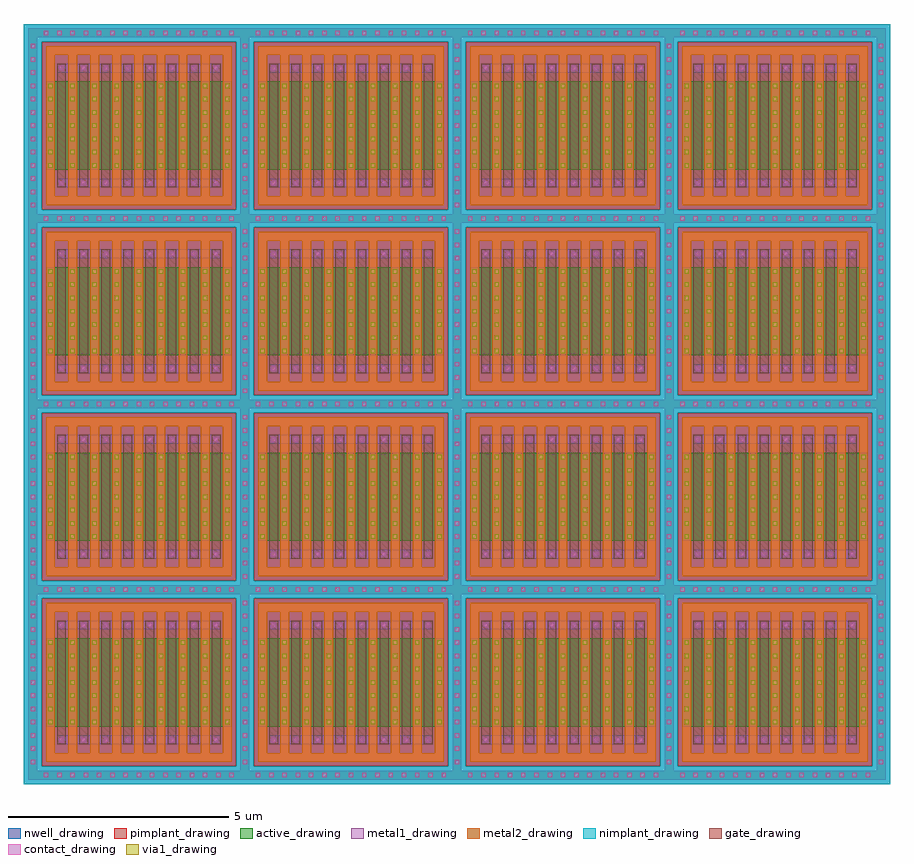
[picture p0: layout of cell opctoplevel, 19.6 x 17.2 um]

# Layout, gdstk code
import gdstk
lib = gdstk.Library(unit=1e-6, precision=1e-09)
def R(c, l, rs):  # rectangles x0, y0, x1, y1
    for r in rs: c.add(gdstk.rectangle(r[:2], r[2:], *l))
def A(c, l, x, y, w, h, nx, ny, dx, dy):  # array of equal rectangles
    R(c, l, [(x+i*dx, y+j*dy, x+i*dx+w, y+j*dy+h) for i in range(nx) for j in range(ny)])
active_drawing = (1, 0)
nwell_drawing = (3, 0)
pimplant_drawing = (4, 0)
nimplant_drawing = (5, 0)
gate_drawing = (6, 0)
contact_drawing = (7, 0)
metal1_drawing = (8, 0)
via1_drawing = (9, 0)
metal2_drawing = (10, 0)

opctoplevel = lib.new_cell('opctoplevel')
A(opctoplevel, active_drawing, -0.65, -1.2, 5, 0.2, 4, 2, 4.8, 16.8)
A(opctoplevel, active_drawing, -0.65, -1.2, 0.2, 4.4, 1, 4, 0, 4.2)
A(opctoplevel, active_drawing, 18.55, -1.2, 0.2, 4.4, 1, 4, 0, 4.2)
A(opctoplevel, active_drawing, -0.25, 0, 4.2, 2, 4, 4, 4.8, 4.2)
R(opctoplevel, active_drawing, [(4.15,-1.2,4.35,3.2), (4.15,-1.2,4.35,3.2), (8.95,-1.2,9.15,3.2), (8.95,-1.2,9.15,3.2), (13.75,-1.2,13.95,3.2), (13.75,-1.2,13.95,3.2), (-0.65,3,4.35,3.2), (-0.65,3,4.35,3.2), (4.15,3,9.15,3.2), (4.15,3,9.15,3.2), (4.15,3,4.35,7.4), (4.15,3,4.35,7.4), (8.95,3,13.95,3.2), (8.95,3,13.95,3.2), (8.95,3,9.15,7.4), (8.95,3,9.15,7.4), (13.75,3,18.75,3.2), (13.75,3,18.75,3.2), (13.75,3,13.95,7.4), (13.75,3,13.95,7.4), (-0.65,7.2,4.35,7.4), (-0.65,7.2,4.35,7.4), (4.15,7.2,9.15,7.4), (4.15,7.2,9.15,7.4), (4.15,7.2,4.35,11.6), (4.15,7.2,4.35,11.6), (8.95,7.2,13.95,7.4), (8.95,7.2,13.95,7.4), (8.95,7.2,9.15,11.6), (8.95,7.2,9.15,11.6), (13.75,7.2,18.75,7.4), (13.75,7.2,18.75,7.4), (13.75,7.2,13.95,11.6), (13.75,7.2,13.95,11.6), (-0.65,11.4,4.35,11.6), (-0.65,11.4,4.35,11.6), (4.15,11.4,9.15,11.6), (4.15,11.4,9.15,11.6), (4.15,11.4,4.35,15.8), (4.15,11.4,4.35,15.8), (8.95,11.4,13.95,11.6), (8.95,11.4,13.95,11.6), (8.95,11.4,9.15,15.8), (8.95,11.4,9.15,15.8), (13.75,11.4,18.75,11.6), (13.75,11.4,18.75,11.6), (13.75,11.4,13.95,15.8), (13.75,11.4,13.95,15.8)])
A(opctoplevel, nwell_drawing, -0.75, -1.3, 5.2, 4.6, 4, 4, 4.8, 4.2)
A(opctoplevel, pimplant_drawing, -0.35, -0.9, 4.4, 3.8, 4, 4, 4.8, 4.2)
A(opctoplevel, nimplant_drawing, -0.75, -1.3, 5.2, 0.4, 4, 2, 4.8, 16.8)
A(opctoplevel, nimplant_drawing, -0.75, -1.3, 0.4, 4.6, 1, 4, 0, 4.2)
A(opctoplevel, nimplant_drawing, 18.45, -1.3, 0.4, 4.6, 1, 4, 0, 4.2)
R(opctoplevel, nimplant_drawing, [(4.05,-1.3,4.45,3.3), (4.05,-1.3,4.45,3.3), (8.85,-1.3,9.25,3.3), (8.85,-1.3,9.25,3.3), (13.65,-1.3,14.05,3.3), (13.65,-1.3,14.05,3.3), (-0.75,2.9,4.45,3.3), (-0.75,2.9,4.45,3.3), (4.05,2.9,9.25,3.3), (4.05,2.9,9.25,3.3), (4.05,2.9,4.45,7.5), (4.05,2.9,4.45,7.5), (8.85,2.9,14.05,3.3), (8.85,2.9,14.05,3.3), (8.85,2.9,9.25,7.5), (8.85,2.9,9.25,7.5), (13.65,2.9,18.85,3.3), (13.65,2.9,18.85,3.3), (13.65,2.9,14.05,7.5), (13.65,2.9,14.05,7.5), (-0.75,7.1,4.45,7.5), (-0.75,7.1,4.45,7.5), (4.05,7.1,9.25,7.5), (4.05,7.1,9.25,7.5), (4.05,7.1,4.45,11.7), (4.05,7.1,4.45,11.7), (8.85,7.1,14.05,7.5), (8.85,7.1,14.05,7.5), (8.85,7.1,9.25,11.7), (8.85,7.1,9.25,11.7), (13.65,7.1,18.85,7.5), (13.65,7.1,18.85,7.5), (13.65,7.1,14.05,11.7), (13.65,7.1,14.05,11.7), (-0.75,11.3,4.45,11.7), (-0.75,11.3,4.45,11.7), (4.05,11.3,9.25,11.7), (4.05,11.3,9.25,11.7), (4.05,11.3,4.45,15.9), (4.05,11.3,4.45,15.9), (8.85,11.3,14.05,11.7), (8.85,11.3,14.05,11.7), (8.85,11.3,9.25,15.9), (8.85,11.3,9.25,15.9), (13.65,11.3,18.85,11.7), (13.65,11.3,18.85,11.7), (13.65,11.3,14.05,15.9), (13.65,11.3,14.05,15.9)])
A(opctoplevel, gate_drawing, 0, -0.4, 0.2, 2.8, 8, 4, 0.5, 4.2)
A(opctoplevel, gate_drawing, 4.8, -0.4, 0.2, 2.8, 8, 4, 0.5, 4.2)
A(opctoplevel, gate_drawing, 9.6, -0.4, 0.2, 2.8, 8, 4, 0.5, 4.2)
A(opctoplevel, gate_drawing, 14.4, -0.4, 0.2, 2.8, 8, 4, 0.5, 4.2)
A(opctoplevel, contact_drawing, -0.3, -1.15, 0.1, 0.1, 15, 2, 0.3, 16.8)
A(opctoplevel, contact_drawing, 4.5, -1.15, 0.1, 0.1, 15, 2, 0.3, 16.8)
A(opctoplevel, contact_drawing, 9.3, -1.15, 0.1, 0.1, 15, 2, 0.3, 16.8)
A(opctoplevel, contact_drawing, 14.1, -1.15, 0.1, 0.1, 15, 2, 0.3, 16.8)
A(opctoplevel, contact_drawing, -0.6, -0.85, 0.1, 0.1, 1, 13, 0, 0.3)
A(opctoplevel, contact_drawing, 18.6, -0.85, 0.1, 0.1, 1, 13, 0, 0.3)
A(opctoplevel, contact_drawing, 0.05, -0.35, 0.1, 0.1, 8, 2, 0.5, 2.6)
A(opctoplevel, contact_drawing, 4.85, -0.35, 0.1, 0.1, 8, 2, 0.5, 2.6)
A(opctoplevel, contact_drawing, 9.65, -0.35, 0.1, 0.1, 8, 2, 0.5, 2.6)
A(opctoplevel, contact_drawing, 14.45, -0.35, 0.1, 0.1, 8, 2, 0.5, 2.6)
A(opctoplevel, contact_drawing, -0.2, 0.05, 0.1, 0.1, 9, 7, 0.5, 0.3)
A(opctoplevel, contact_drawing, 4.6, 0.05, 0.1, 0.1, 9, 7, 0.5, 0.3)
A(opctoplevel, contact_drawing, 9.4, 0.05, 0.1, 0.1, 9, 7, 0.5, 0.3)
A(opctoplevel, contact_drawing, 14.2, 0.05, 0.1, 0.1, 9, 7, 0.5, 0.3)
A(opctoplevel, contact_drawing, -0.6, 3.35, 0.1, 0.1, 1, 13, 0, 0.3)
A(opctoplevel, contact_drawing, 18.6, 3.35, 0.1, 0.1, 1, 13, 0, 0.3)
A(opctoplevel, contact_drawing, 0.05, 3.85, 0.1, 0.1, 8, 2, 0.5, 2.6)
A(opctoplevel, contact_drawing, 4.85, 3.85, 0.1, 0.1, 8, 2, 0.5, 2.6)
A(opctoplevel, contact_drawing, 9.65, 3.85, 0.1, 0.1, 8, 2, 0.5, 2.6)
A(opctoplevel, contact_drawing, 14.45, 3.85, 0.1, 0.1, 8, 2, 0.5, 2.6)
A(opctoplevel, contact_drawing, -0.2, 4.25, 0.1, 0.1, 9, 7, 0.5, 0.3)
A(opctoplevel, contact_drawing, 4.6, 4.25, 0.1, 0.1, 9, 7, 0.5, 0.3)
A(opctoplevel, contact_drawing, 9.4, 4.25, 0.1, 0.1, 9, 7, 0.5, 0.3)
A(opctoplevel, contact_drawing, 14.2, 4.25, 0.1, 0.1, 9, 7, 0.5, 0.3)
A(opctoplevel, contact_drawing, -0.6, 7.55, 0.1, 0.1, 1, 13, 0, 0.3)
A(opctoplevel, contact_drawing, 18.6, 7.55, 0.1, 0.1, 1, 13, 0, 0.3)
A(opctoplevel, contact_drawing, 0.05, 8.05, 0.1, 0.1, 8, 2, 0.5, 2.6)
A(opctoplevel, contact_drawing, 4.85, 8.05, 0.1, 0.1, 8, 2, 0.5, 2.6)
A(opctoplevel, contact_drawing, 9.65, 8.05, 0.1, 0.1, 8, 2, 0.5, 2.6)
A(opctoplevel, contact_drawing, 14.45, 8.05, 0.1, 0.1, 8, 2, 0.5, 2.6)
A(opctoplevel, contact_drawing, -0.2, 8.45, 0.1, 0.1, 9, 7, 0.5, 0.3)
A(opctoplevel, contact_drawing, 4.6, 8.45, 0.1, 0.1, 9, 7, 0.5, 0.3)
A(opctoplevel, contact_drawing, 9.4, 8.45, 0.1, 0.1, 9, 7, 0.5, 0.3)
A(opctoplevel, contact_drawing, 14.2, 8.45, 0.1, 0.1, 9, 7, 0.5, 0.3)
A(opctoplevel, contact_drawing, -0.6, 11.75, 0.1, 0.1, 1, 13, 0, 0.3)
A(opctoplevel, contact_drawing, 18.6, 11.75, 0.1, 0.1, 1, 13, 0, 0.3)
A(opctoplevel, contact_drawing, 0.05, 12.25, 0.1, 0.1, 8, 2, 0.5, 2.6)
A(opctoplevel, contact_drawing, 4.85, 12.25, 0.1, 0.1, 8, 2, 0.5, 2.6)
A(opctoplevel, contact_drawing, 9.65, 12.25, 0.1, 0.1, 8, 2, 0.5, 2.6)
A(opctoplevel, contact_drawing, 14.45, 12.25, 0.1, 0.1, 8, 2, 0.5, 2.6)
A(opctoplevel, contact_drawing, -0.2, 12.65, 0.1, 0.1, 9, 7, 0.5, 0.3)
A(opctoplevel, contact_drawing, 4.6, 12.65, 0.1, 0.1, 9, 7, 0.5, 0.3)
A(opctoplevel, contact_drawing, 9.4, 12.65, 0.1, 0.1, 9, 7, 0.5, 0.3)
A(opctoplevel, contact_drawing, 14.2, 12.65, 0.1, 0.1, 9, 7, 0.5, 0.3)
R(opctoplevel, contact_drawing, [(4.2,-0.85,4.3,-0.75), (4.2,-0.85,4.3,-0.75), (9,-0.85,9.1,-0.75), (9,-0.85,9.1,-0.75), (13.8,-0.85,13.9,-0.75), (13.8,-0.85,13.9,-0.75), (4.2,-0.55,4.3,-0.45), (4.2,-0.55,4.3,-0.45), (9,-0.55,9.1,-0.45), (9,-0.55,9.1,-0.45), (13.8,-0.55,13.9,-0.45), (13.8,-0.55,13.9,-0.45), (4.2,-0.25,4.3,-0.15), (4.2,-0.25,4.3,-0.15), (9,-0.25,9.1,-0.15), (9,-0.25,9.1,-0.15), (13.8,-0.25,13.9,-0.15), (13.8,-0.25,13.9,-0.15), (4.2,0.05,4.3,0.15), (4.2,0.05,4.3,0.15), (9,0.05,9.1,0.15), (9,0.05,9.1,0.15), (13.8,0.05,13.9,0.15), (13.8,0.05,13.9,0.15), (4.2,0.35,4.3,0.45), (4.2,0.35,4.3,0.45), (9,0.35,9.1,0.45), (9,0.35,9.1,0.45), (13.8,0.35,13.9,0.45), (13.8,0.35,13.9,0.45), (4.2,0.65,4.3,0.75), (4.2,0.65,4.3,0.75), (9,0.65,9.1,0.75), (9,0.65,9.1,0.75), (13.8,0.65,13.9,0.75), (13.8,0.65,13.9,0.75), (4.2,0.95,4.3,1.05), (4.2,0.95,4.3,1.05), (9,0.95,9.1,1.05), (9,0.95,9.1,1.05), (13.8,0.95,13.9,1.05), (13.8,0.95,13.9,1.05), (4.2,1.25,4.3,1.35), (4.2,1.25,4.3,1.35), (9,1.25,9.1,1.35), (9,1.25,9.1,1.35), (13.8,1.25,13.9,1.35), (13.8,1.25,13.9,1.35), (4.2,1.55,4.3,1.65), (4.2,1.55,4.3,1.65), (9,1.55,9.1,1.65), (9,1.55,9.1,1.65), (13.8,1.55,13.9,1.65), (13.8,1.55,13.9,1.65), (4.2,1.85,4.3,1.95), (4.2,1.85,4.3,1.95), (9,1.85,9.1,1.95), (9,1.85,9.1,1.95), (13.8,1.85,13.9,1.95), (13.8,1.85,13.9,1.95), (4.2,2.15,4.3,2.25), (4.2,2.15,4.3,2.25), (9,2.15,9.1,2.25), (9,2.15,9.1,2.25), (13.8,2.15,13.9,2.25), (13.8,2.15,13.9,2.25), (4.2,2.45,4.3,2.55), (4.2,2.45,4.3,2.55), (9,2.45,9.1,2.55), (9,2.45,9.1,2.55), (13.8,2.45,13.9,2.55), (13.8,2.45,13.9,2.55), (4.2,2.75,4.3,2.85), (4.2,2.75,4.3,2.85), (9,2.75,9.1,2.85), (9,2.75,9.1,2.85), (13.8,2.75,13.9,2.85), (13.8,2.75,13.9,2.85), (-0.3,3.05,-0.2,3.15), (-0.3,3.05,-0.2,3.15), (0,3.05,0.1,3.15), (0,3.05,0.1,3.15), (0.3,3.05,0.4,3.15), (0.3,3.05,0.4,3.15), (0.6,3.05,0.7,3.15), (0.6,3.05,0.7,3.15), (0.9,3.05,1,3.15), (0.9,3.05,1,3.15), (1.2,3.05,1.3,3.15), (1.2,3.05,1.3,3.15), (1.5,3.05,1.6,3.15), (1.5,3.05,1.6,3.15), (1.8,3.05,1.9,3.15), (1.8,3.05,1.9,3.15), (2.1,3.05,2.2,3.15), (2.1,3.05,2.2,3.15), (2.4,3.05,2.5,3.15), (2.4,3.05,2.5,3.15), (2.7,3.05,2.8,3.15), (2.7,3.05,2.8,3.15), (3,3.05,3.1,3.15), (3,3.05,3.1,3.15), (3.3,3.05,3.4,3.15), (3.3,3.05,3.4,3.15), (3.6,3.05,3.7,3.15), (3.6,3.05,3.7,3.15), (3.9,3.05,4,3.15), (3.9,3.05,4,3.15), (4.5,3.05,4.6,3.15), (4.5,3.05,4.6,3.15), (4.8,3.05,4.9,3.15), (4.8,3.05,4.9,3.15), (5.1,3.05,5.2,3.15), (5.1,3.05,5.2,3.15), (5.4,3.05,5.5,3.15), (5.4,3.05,5.5,3.15), (5.7,3.05,5.8,3.15), (5.7,3.05,5.8,3.15), (6,3.05,6.1,3.15), (6,3.05,6.1,3.15), (6.3,3.05,6.4,3.15), (6.3,3.05,6.4,3.15), (6.6,3.05,6.7,3.15), (6.6,3.05,6.7,3.15), (6.9,3.05,7,3.15), (6.9,3.05,7,3.15), (7.2,3.05,7.3,3.15), (7.2,3.05,7.3,3.15), (7.5,3.05,7.6,3.15), (7.5,3.05,7.6,3.15), (7.8,3.05,7.9,3.15), (7.8,3.05,7.9,3.15), (8.1,3.05,8.2,3.15), (8.1,3.05,8.2,3.15), (8.4,3.05,8.5,3.15), (8.4,3.05,8.5,3.15), (8.7,3.05,8.8,3.15), (8.7,3.05,8.8,3.15), (9.3,3.05,9.4,3.15), (9.3,3.05,9.4,3.15), (9.6,3.05,9.7,3.15), (9.6,3.05,9.7,3.15), (9.9,3.05,10,3.15), (9.9,3.05,10,3.15), (10.2,3.05,10.3,3.15), (10.2,3.05,10.3,3.15), (10.5,3.05,10.6,3.15), (10.5,3.05,10.6,3.15), (10.8,3.05,10.9,3.15), (10.8,3.05,10.9,3.15), (11.1,3.05,11.2,3.15), (11.1,3.05,11.2,3.15), (11.4,3.05,11.5,3.15), (11.4,3.05,11.5,3.15), (11.7,3.05,11.8,3.15), (11.7,3.05,11.8,3.15), (12,3.05,12.1,3.15), (12,3.05,12.1,3.15), (12.3,3.05,12.4,3.15), (12.3,3.05,12.4,3.15), (12.6,3.05,12.7,3.15), (12.6,3.05,12.7,3.15), (12.9,3.05,13,3.15), (12.9,3.05,13,3.15), (13.2,3.05,13.3,3.15), (13.2,3.05,13.3,3.15), (13.5,3.05,13.6,3.15), (13.5,3.05,13.6,3.15), (14.1,3.05,14.2,3.15), (14.1,3.05,14.2,3.15), (14.4,3.05,14.5,3.15), (14.4,3.05,14.5,3.15), (14.7,3.05,14.8,3.15), (14.7,3.05,14.8,3.15), (15,3.05,15.1,3.15), (15,3.05,15.1,3.15), (15.3,3.05,15.4,3.15), (15.3,3.05,15.4,3.15), (15.6,3.05,15.7,3.15), (15.6,3.05,15.7,3.15), (15.9,3.05,16,3.15), (15.9,3.05,16,3.15), (16.2,3.05,16.3,3.15), (16.2,3.05,16.3,3.15), (16.5,3.05,16.6,3.15), (16.5,3.05,16.6,3.15), (16.8,3.05,16.9,3.15), (16.8,3.05,16.9,3.15), (17.1,3.05,17.2,3.15), (17.1,3.05,17.2,3.15), (17.4,3.05,17.5,3.15), (17.4,3.05,17.5,3.15), (17.7,3.05,17.8,3.15), (17.7,3.05,17.8,3.15), (18,3.05,18.1,3.15), (18,3.05,18.1,3.15), (18.3,3.05,18.4,3.15), (18.3,3.05,18.4,3.15), (4.2,3.35,4.3,3.45), (4.2,3.35,4.3,3.45), (9,3.35,9.1,3.45), (9,3.35,9.1,3.45), (13.8,3.35,13.9,3.45), (13.8,3.35,13.9,3.45), (4.2,3.65,4.3,3.75), (4.2,3.65,4.3,3.75), (9,3.65,9.1,3.75), (9,3.65,9.1,3.75), (13.8,3.65,13.9,3.75), (13.8,3.65,13.9,3.75), (4.2,3.95,4.3,4.05), (4.2,3.95,4.3,4.05), (9,3.95,9.1,4.05), (9,3.95,9.1,4.05), (13.8,3.95,13.9,4.05), (13.8,3.95,13.9,4.05), (4.2,4.25,4.3,4.35), (4.2,4.25,4.3,4.35), (9,4.25,9.1,4.35), (9,4.25,9.1,4.35), (13.8,4.25,13.9,4.35), (13.8,4.25,13.9,4.35), (4.2,4.55,4.3,4.65), (4.2,4.55,4.3,4.65), (9,4.55,9.1,4.65), (9,4.55,9.1,4.65), (13.8,4.55,13.9,4.65), (13.8,4.55,13.9,4.65), (4.2,4.85,4.3,4.95), (4.2,4.85,4.3,4.95), (9,4.85,9.1,4.95), (9,4.85,9.1,4.95), (13.8,4.85,13.9,4.95), (13.8,4.85,13.9,4.95), (4.2,5.15,4.3,5.25), (4.2,5.15,4.3,5.25), (9,5.15,9.1,5.25), (9,5.15,9.1,5.25), (13.8,5.15,13.9,5.25), (13.8,5.15,13.9,5.25), (4.2,5.45,4.3,5.55), (4.2,5.45,4.3,5.55), (9,5.45,9.1,5.55), (9,5.45,9.1,5.55), (13.8,5.45,13.9,5.55), (13.8,5.45,13.9,5.55), (4.2,5.75,4.3,5.85), (4.2,5.75,4.3,5.85), (9,5.75,9.1,5.85), (9,5.75,9.1,5.85), (13.8,5.75,13.9,5.85), (13.8,5.75,13.9,5.85), (4.2,6.05,4.3,6.15), (4.2,6.05,4.3,6.15), (9,6.05,9.1,6.15), (9,6.05,9.1,6.15), (13.8,6.05,13.9,6.15), (13.8,6.05,13.9,6.15), (4.2,6.35,4.3,6.45), (4.2,6.35,4.3,6.45), (9,6.35,9.1,6.45), (9,6.35,9.1,6.45), (13.8,6.35,13.9,6.45), (13.8,6.35,13.9,6.45), (4.2,6.65,4.3,6.75), (4.2,6.65,4.3,6.75), (9,6.65,9.1,6.75), (9,6.65,9.1,6.75), (13.8,6.65,13.9,6.75), (13.8,6.65,13.9,6.75), (4.2,6.95,4.3,7.05), (4.2,6.95,4.3,7.05), (9,6.95,9.1,7.05), (9,6.95,9.1,7.05), (13.8,6.95,13.9,7.05), (13.8,6.95,13.9,7.05), (-0.3,7.25,-0.2,7.35), (-0.3,7.25,-0.2,7.35), (0,7.25,0.1,7.35), (0,7.25,0.1,7.35), (0.3,7.25,0.4,7.35), (0.3,7.25,0.4,7.35), (0.6,7.25,0.7,7.35), (0.6,7.25,0.7,7.35), (0.9,7.25,1,7.35), (0.9,7.25,1,7.35), (1.2,7.25,1.3,7.35), (1.2,7.25,1.3,7.35), (1.5,7.25,1.6,7.35), (1.5,7.25,1.6,7.35), (1.8,7.25,1.9,7.35), (1.8,7.25,1.9,7.35), (2.1,7.25,2.2,7.35), (2.1,7.25,2.2,7.35), (2.4,7.25,2.5,7.35), (2.4,7.25,2.5,7.35), (2.7,7.25,2.8,7.35), (2.7,7.25,2.8,7.35), (3,7.25,3.1,7.35), (3,7.25,3.1,7.35), (3.3,7.25,3.4,7.35), (3.3,7.25,3.4,7.35), (3.6,7.25,3.7,7.35), (3.6,7.25,3.7,7.35), (3.9,7.25,4,7.35), (3.9,7.25,4,7.35), (4.5,7.25,4.6,7.35), (4.5,7.25,4.6,7.35), (4.8,7.25,4.9,7.35), (4.8,7.25,4.9,7.35), (5.1,7.25,5.2,7.35), (5.1,7.25,5.2,7.35), (5.4,7.25,5.5,7.35), (5.4,7.25,5.5,7.35), (5.7,7.25,5.8,7.35), (5.7,7.25,5.8,7.35), (6,7.25,6.1,7.35), (6,7.25,6.1,7.35), (6.3,7.25,6.4,7.35), (6.3,7.25,6.4,7.35), (6.6,7.25,6.7,7.35), (6.6,7.25,6.7,7.35), (6.9,7.25,7,7.35), (6.9,7.25,7,7.35), (7.2,7.25,7.3,7.35), (7.2,7.25,7.3,7.35), (7.5,7.25,7.6,7.35), (7.5,7.25,7.6,7.35), (7.8,7.25,7.9,7.35), (7.8,7.25,7.9,7.35), (8.1,7.25,8.2,7.35), (8.1,7.25,8.2,7.35), (8.4,7.25,8.5,7.35), (8.4,7.25,8.5,7.35), (8.7,7.25,8.8,7.35), (8.7,7.25,8.8,7.35), (9.3,7.25,9.4,7.35), (9.3,7.25,9.4,7.35), (9.6,7.25,9.7,7.35), (9.6,7.25,9.7,7.35), (9.9,7.25,10,7.35), (9.9,7.25,10,7.35), (10.2,7.25,10.3,7.35), (10.2,7.25,10.3,7.35), (10.5,7.25,10.6,7.35), (10.5,7.25,10.6,7.35), (10.8,7.25,10.9,7.35), (10.8,7.25,10.9,7.35), (11.1,7.25,11.2,7.35), (11.1,7.25,11.2,7.35), (11.4,7.25,11.5,7.35), (11.4,7.25,11.5,7.35), (11.7,7.25,11.8,7.35), (11.7,7.25,11.8,7.35), (12,7.25,12.1,7.35), (12,7.25,12.1,7.35), (12.3,7.25,12.4,7.35), (12.3,7.25,12.4,7.35), (12.6,7.25,12.7,7.35), (12.6,7.25,12.7,7.35), (12.9,7.25,13,7.35), (12.9,7.25,13,7.35), (13.2,7.25,13.3,7.35), (13.2,7.25,13.3,7.35), (13.5,7.25,13.6,7.35), (13.5,7.25,13.6,7.35), (14.1,7.25,14.2,7.35), (14.1,7.25,14.2,7.35), (14.4,7.25,14.5,7.35), (14.4,7.25,14.5,7.35), (14.7,7.25,14.8,7.35), (14.7,7.25,14.8,7.35), (15,7.25,15.1,7.35), (15,7.25,15.1,7.35), (15.3,7.25,15.4,7.35), (15.3,7.25,15.4,7.35), (15.6,7.25,15.7,7.35), (15.6,7.25,15.7,7.35), (15.9,7.25,16,7.35), (15.9,7.25,16,7.35), (16.2,7.25,16.3,7.35), (16.2,7.25,16.3,7.35), (16.5,7.25,16.6,7.35), (16.5,7.25,16.6,7.35), (16.8,7.25,16.9,7.35), (16.8,7.25,16.9,7.35), (17.1,7.25,17.2,7.35), (17.1,7.25,17.2,7.35), (17.4,7.25,17.5,7.35), (17.4,7.25,17.5,7.35), (17.7,7.25,17.8,7.35), (17.7,7.25,17.8,7.35), (18,7.25,18.1,7.35), (18,7.25,18.1,7.35), (18.3,7.25,18.4,7.35), (18.3,7.25,18.4,7.35), (4.2,7.55,4.3,7.65), (4.2,7.55,4.3,7.65), (9,7.55,9.1,7.65), (9,7.55,9.1,7.65), (13.8,7.55,13.9,7.65), (13.8,7.55,13.9,7.65), (4.2,7.85,4.3,7.95), (4.2,7.85,4.3,7.95), (9,7.85,9.1,7.95), (9,7.85,9.1,7.95), (13.8,7.85,13.9,7.95), (13.8,7.85,13.9,7.95), (4.2,8.15,4.3,8.25), (4.2,8.15,4.3,8.25), (9,8.15,9.1,8.25), (9,8.15,9.1,8.25), (13.8,8.15,13.9,8.25), (13.8,8.15,13.9,8.25), (4.2,8.45,4.3,8.55), (4.2,8.45,4.3,8.55), (9,8.45,9.1,8.55), (9,8.45,9.1,8.55), (13.8,8.45,13.9,8.55), (13.8,8.45,13.9,8.55), (4.2,8.75,4.3,8.85), (4.2,8.75,4.3,8.85), (9,8.75,9.1,8.85), (9,8.75,9.1,8.85), (13.8,8.75,13.9,8.85), (13.8,8.75,13.9,8.85), (4.2,9.05,4.3,9.15), (4.2,9.05,4.3,9.15), (9,9.05,9.1,9.15), (9,9.05,9.1,9.15), (13.8,9.05,13.9,9.15), (13.8,9.05,13.9,9.15), (4.2,9.35,4.3,9.45), (4.2,9.35,4.3,9.45), (9,9.35,9.1,9.45), (9,9.35,9.1,9.45), (13.8,9.35,13.9,9.45), (13.8,9.35,13.9,9.45), (4.2,9.65,4.3,9.75), (4.2,9.65,4.3,9.75), (9,9.65,9.1,9.75), (9,9.65,9.1,9.75), (13.8,9.65,13.9,9.75), (13.8,9.65,13.9,9.75), (4.2,9.95,4.3,10.05), (4.2,9.95,4.3,10.05), (9,9.95,9.1,10.05), (9,9.95,9.1,10.05), (13.8,9.95,13.9,10.05), (13.8,9.95,13.9,10.05), (4.2,10.25,4.3,10.35), (4.2,10.25,4.3,10.35), (9,10.25,9.1,10.35), (9,10.25,9.1,10.35), (13.8,10.25,13.9,10.35), (13.8,10.25,13.9,10.35), (4.2,10.55,4.3,10.65), (4.2,10.55,4.3,10.65), (9,10.55,9.1,10.65), (9,10.55,9.1,10.65), (13.8,10.55,13.9,10.65), (13.8,10.55,13.9,10.65), (4.2,10.85,4.3,10.95), (4.2,10.85,4.3,10.95), (9,10.85,9.1,10.95), (9,10.85,9.1,10.95), (13.8,10.85,13.9,10.95), (13.8,10.85,13.9,10.95), (4.2,11.15,4.3,11.25), (4.2,11.15,4.3,11.25), (9,11.15,9.1,11.25), (9,11.15,9.1,11.25), (13.8,11.15,13.9,11.25), (13.8,11.15,13.9,11.25), (-0.3,11.45,-0.2,11.55), (-0.3,11.45,-0.2,11.55), (0,11.45,0.1,11.55), (0,11.45,0.1,11.55), (0.3,11.45,0.4,11.55), (0.3,11.45,0.4,11.55), (0.6,11.45,0.7,11.55), (0.6,11.45,0.7,11.55), (0.9,11.45,1,11.55), (0.9,11.45,1,11.55), (1.2,11.45,1.3,11.55), (1.2,11.45,1.3,11.55), (1.5,11.45,1.6,11.55), (1.5,11.45,1.6,11.55), (1.8,11.45,1.9,11.55), (1.8,11.45,1.9,11.55), (2.1,11.45,2.2,11.55), (2.1,11.45,2.2,11.55), (2.4,11.45,2.5,11.55), (2.4,11.45,2.5,11.55), (2.7,11.45,2.8,11.55), (2.7,11.45,2.8,11.55), (3,11.45,3.1,11.55), (3,11.45,3.1,11.55), (3.3,11.45,3.4,11.55), (3.3,11.45,3.4,11.55), (3.6,11.45,3.7,11.55), (3.6,11.45,3.7,11.55), (3.9,11.45,4,11.55), (3.9,11.45,4,11.55), (4.5,11.45,4.6,11.55), (4.5,11.45,4.6,11.55), (4.8,11.45,4.9,11.55), (4.8,11.45,4.9,11.55), (5.1,11.45,5.2,11.55), (5.1,11.45,5.2,11.55), (5.4,11.45,5.5,11.55), (5.4,11.45,5.5,11.55), (5.7,11.45,5.8,11.55), (5.7,11.45,5.8,11.55), (6,11.45,6.1,11.55), (6,11.45,6.1,11.55), (6.3,11.45,6.4,11.55), (6.3,11.45,6.4,11.55), (6.6,11.45,6.7,11.55), (6.6,11.45,6.7,11.55), (6.9,11.45,7,11.55), (6.9,11.45,7,11.55), (7.2,11.45,7.3,11.55), (7.2,11.45,7.3,11.55), (7.5,11.45,7.6,11.55), (7.5,11.45,7.6,11.55), (7.8,11.45,7.9,11.55), (7.8,11.45,7.9,11.55), (8.1,11.45,8.2,11.55), (8.1,11.45,8.2,11.55), (8.4,11.45,8.5,11.55), (8.4,11.45,8.5,11.55), (8.7,11.45,8.8,11.55), (8.7,11.45,8.8,11.55), (9.3,11.45,9.4,11.55), (9.3,11.45,9.4,11.55), (9.6,11.45,9.7,11.55), (9.6,11.45,9.7,11.55), (9.9,11.45,10,11.55), (9.9,11.45,10,11.55), (10.2,11.45,10.3,11.55), (10.2,11.45,10.3,11.55), (10.5,11.45,10.6,11.55), (10.5,11.45,10.6,11.55), (10.8,11.45,10.9,11.55), (10.8,11.45,10.9,11.55), (11.1,11.45,11.2,11.55), (11.1,11.45,11.2,11.55), (11.4,11.45,11.5,11.55), (11.4,11.45,11.5,11.55), (11.7,11.45,11.8,11.55), (11.7,11.45,11.8,11.55), (12,11.45,12.1,11.55), (12,11.45,12.1,11.55), (12.3,11.45,12.4,11.55), (12.3,11.45,12.4,11.55), (12.6,11.45,12.7,11.55), (12.6,11.45,12.7,11.55), (12.9,11.45,13,11.55), (12.9,11.45,13,11.55), (13.2,11.45,13.3,11.55), (13.2,11.45,13.3,11.55), (13.5,11.45,13.6,11.55), (13.5,11.45,13.6,11.55), (14.1,11.45,14.2,11.55), (14.1,11.45,14.2,11.55), (14.4,11.45,14.5,11.55), (14.4,11.45,14.5,11.55), (14.7,11.45,14.8,11.55), (14.7,11.45,14.8,11.55), (15,11.45,15.1,11.55), (15,11.45,15.1,11.55), (15.3,11.45,15.4,11.55), (15.3,11.45,15.4,11.55), (15.6,11.45,15.7,11.55), (15.6,11.45,15.7,11.55), (15.9,11.45,16,11.55), (15.9,11.45,16,11.55), (16.2,11.45,16.3,11.55), (16.2,11.45,16.3,11.55), (16.5,11.45,16.6,11.55), (16.5,11.45,16.6,11.55), (16.8,11.45,16.9,11.55), (16.8,11.45,16.9,11.55), (17.1,11.45,17.2,11.55), (17.1,11.45,17.2,11.55), (17.4,11.45,17.5,11.55), (17.4,11.45,17.5,11.55), (17.7,11.45,17.8,11.55), (17.7,11.45,17.8,11.55), (18,11.45,18.1,11.55), (18,11.45,18.1,11.55), (18.3,11.45,18.4,11.55), (18.3,11.45,18.4,11.55), (4.2,11.75,4.3,11.85), (4.2,11.75,4.3,11.85), (9,11.75,9.1,11.85), (9,11.75,9.1,11.85), (13.8,11.75,13.9,11.85), (13.8,11.75,13.9,11.85), (4.2,12.05,4.3,12.15), (4.2,12.05,4.3,12.15), (9,12.05,9.1,12.15), (9,12.05,9.1,12.15), (13.8,12.05,13.9,12.15), (13.8,12.05,13.9,12.15), (4.2,12.35,4.3,12.45), (4.2,12.35,4.3,12.45), (9,12.35,9.1,12.45), (9,12.35,9.1,12.45), (13.8,12.35,13.9,12.45), (13.8,12.35,13.9,12.45), (4.2,12.65,4.3,12.75), (4.2,12.65,4.3,12.75), (9,12.65,9.1,12.75), (9,12.65,9.1,12.75), (13.8,12.65,13.9,12.75), (13.8,12.65,13.9,12.75), (4.2,12.95,4.3,13.05), (4.2,12.95,4.3,13.05), (9,12.95,9.1,13.05), (9,12.95,9.1,13.05), (13.8,12.95,13.9,13.05), (13.8,12.95,13.9,13.05), (4.2,13.25,4.3,13.35), (4.2,13.25,4.3,13.35), (9,13.25,9.1,13.35), (9,13.25,9.1,13.35), (13.8,13.25,13.9,13.35), (13.8,13.25,13.9,13.35), (4.2,13.55,4.3,13.65), (4.2,13.55,4.3,13.65), (9,13.55,9.1,13.65), (9,13.55,9.1,13.65), (13.8,13.55,13.9,13.65), (13.8,13.55,13.9,13.65), (4.2,13.85,4.3,13.95), (4.2,13.85,4.3,13.95), (9,13.85,9.1,13.95), (9,13.85,9.1,13.95), (13.8,13.85,13.9,13.95), (13.8,13.85,13.9,13.95), (4.2,14.15,4.3,14.25), (4.2,14.15,4.3,14.25), (9,14.15,9.1,14.25), (9,14.15,9.1,14.25), (13.8,14.15,13.9,14.25), (13.8,14.15,13.9,14.25), (4.2,14.45,4.3,14.55), (4.2,14.45,4.3,14.55), (9,14.45,9.1,14.55), (9,14.45,9.1,14.55), (13.8,14.45,13.9,14.55), (13.8,14.45,13.9,14.55), (4.2,14.75,4.3,14.85), (4.2,14.75,4.3,14.85), (9,14.75,9.1,14.85), (9,14.75,9.1,14.85), (13.8,14.75,13.9,14.85), (13.8,14.75,13.9,14.85), (4.2,15.05,4.3,15.15), (4.2,15.05,4.3,15.15), (9,15.05,9.1,15.15), (9,15.05,9.1,15.15), (13.8,15.05,13.9,15.15), (13.8,15.05,13.9,15.15), (4.2,15.35,4.3,15.45), (4.2,15.35,4.3,15.45), (9,15.35,9.1,15.45), (9,15.35,9.1,15.45), (13.8,15.35,13.9,15.45), (13.8,15.35,13.9,15.45)])
A(opctoplevel, metal1_drawing, -0.65, -1.2, 5, 0.2, 4, 2, 4.8, 16.8)
A(opctoplevel, metal1_drawing, -0.65, -1.2, 0.2, 4.4, 1, 4, 0, 4.2)
A(opctoplevel, metal1_drawing, 18.55, -1.2, 0.2, 4.4, 1, 4, 0, 4.2)
A(opctoplevel, metal1_drawing, 0, -0.4, 3.7, 0.2, 4, 2, 4.8, 2.6)
A(opctoplevel, metal1_drawing, -0.25, 0, 0.2, 2, 9, 4, 0.5, 4.2)
A(opctoplevel, metal1_drawing, 4.55, 0, 0.2, 2, 9, 4, 0.5, 4.2)
A(opctoplevel, metal1_drawing, 9.35, 0, 0.2, 2, 9, 4, 0.5, 4.2)
A(opctoplevel, metal1_drawing, 14.15, 0, 0.2, 2, 9, 4, 0.5, 4.2)
A(opctoplevel, metal1_drawing, 0, 3.8, 3.7, 0.2, 4, 2, 4.8, 2.6)
A(opctoplevel, metal1_drawing, 0, 8, 3.7, 0.2, 4, 2, 4.8, 2.6)
A(opctoplevel, metal1_drawing, 0, 12.2, 3.7, 0.2, 4, 2, 4.8, 2.6)
R(opctoplevel, metal1_drawing, [(4.15,-1.2,4.35,3.2), (4.15,-1.2,4.35,3.2), (8.95,-1.2,9.15,3.2), (8.95,-1.2,9.15,3.2), (13.75,-1.2,13.95,3.2), (13.75,-1.2,13.95,3.2), (-0.65,3,4.35,3.2), (-0.65,3,4.35,3.2), (4.15,3,9.15,3.2), (4.15,3,9.15,3.2), (4.15,3,4.35,7.4), (4.15,3,4.35,7.4), (8.95,3,13.95,3.2), (8.95,3,13.95,3.2), (8.95,3,9.15,7.4), (8.95,3,9.15,7.4), (13.75,3,18.75,3.2), (13.75,3,18.75,3.2), (13.75,3,13.95,7.4), (13.75,3,13.95,7.4), (-0.65,7.2,4.35,7.4), (-0.65,7.2,4.35,7.4), (4.15,7.2,9.15,7.4), (4.15,7.2,9.15,7.4), (4.15,7.2,4.35,11.6), (4.15,7.2,4.35,11.6), (8.95,7.2,13.95,7.4), (8.95,7.2,13.95,7.4), (8.95,7.2,9.15,11.6), (8.95,7.2,9.15,11.6), (13.75,7.2,18.75,7.4), (13.75,7.2,18.75,7.4), (13.75,7.2,13.95,11.6), (13.75,7.2,13.95,11.6), (-0.65,11.4,4.35,11.6), (-0.65,11.4,4.35,11.6), (4.15,11.4,9.15,11.6), (4.15,11.4,9.15,11.6), (4.15,11.4,4.35,15.8), (4.15,11.4,4.35,15.8), (8.95,11.4,13.95,11.6), (8.95,11.4,13.95,11.6), (8.95,11.4,9.15,15.8), (8.95,11.4,9.15,15.8), (13.75,11.4,18.75,11.6), (13.75,11.4,18.75,11.6), (13.75,11.4,13.95,15.8), (13.75,11.4,13.95,15.8)])
A(opctoplevel, via1_drawing, -0.2, 0.05, 0.1, 0.1, 9, 7, 0.5, 0.3)
A(opctoplevel, via1_drawing, 4.6, 0.05, 0.1, 0.1, 9, 7, 0.5, 0.3)
A(opctoplevel, via1_drawing, 9.4, 0.05, 0.1, 0.1, 9, 7, 0.5, 0.3)
A(opctoplevel, via1_drawing, 14.2, 0.05, 0.1, 0.1, 9, 7, 0.5, 0.3)
A(opctoplevel, via1_drawing, -0.2, 4.25, 0.1, 0.1, 9, 7, 0.5, 0.3)
A(opctoplevel, via1_drawing, 4.6, 4.25, 0.1, 0.1, 9, 7, 0.5, 0.3)
A(opctoplevel, via1_drawing, 9.4, 4.25, 0.1, 0.1, 9, 7, 0.5, 0.3)
A(opctoplevel, via1_drawing, 14.2, 4.25, 0.1, 0.1, 9, 7, 0.5, 0.3)
A(opctoplevel, via1_drawing, -0.2, 8.45, 0.1, 0.1, 9, 7, 0.5, 0.3)
A(opctoplevel, via1_drawing, 4.6, 8.45, 0.1, 0.1, 9, 7, 0.5, 0.3)
A(opctoplevel, via1_drawing, 9.4, 8.45, 0.1, 0.1, 9, 7, 0.5, 0.3)
A(opctoplevel, via1_drawing, 14.2, 8.45, 0.1, 0.1, 9, 7, 0.5, 0.3)
A(opctoplevel, via1_drawing, -0.2, 12.65, 0.1, 0.1, 9, 7, 0.5, 0.3)
A(opctoplevel, via1_drawing, 4.6, 12.65, 0.1, 0.1, 9, 7, 0.5, 0.3)
A(opctoplevel, via1_drawing, 9.4, 12.65, 0.1, 0.1, 9, 7, 0.5, 0.3)
A(opctoplevel, via1_drawing, 14.2, 12.65, 0.1, 0.1, 9, 7, 0.5, 0.3)
A(opctoplevel, metal2_drawing, -0.25, -0.8, 4.2, 0.2, 4, 2, 4.8, 3.4)
A(opctoplevel, metal2_drawing, 0.25, -0.8, 3.2, 0.2, 4, 2, 4.8, 3.4)
A(opctoplevel, metal2_drawing, -0.25, -0.6, 0.2, 0.6, 9, 2, 0.5, 2.6)
A(opctoplevel, metal2_drawing, 4.55, -0.6, 0.2, 0.6, 9, 2, 0.5, 2.6)
A(opctoplevel, metal2_drawing, 9.35, -0.6, 0.2, 0.6, 9, 2, 0.5, 2.6)
A(opctoplevel, metal2_drawing, 14.15, -0.6, 0.2, 0.6, 9, 2, 0.5, 2.6)
A(opctoplevel, metal2_drawing, -0.25, 0, 0.2, 2, 9, 4, 0.5, 4.2)
A(opctoplevel, metal2_drawing, 4.55, 0, 0.2, 2, 9, 4, 0.5, 4.2)
A(opctoplevel, metal2_drawing, 9.35, 0, 0.2, 2, 9, 4, 0.5, 4.2)
A(opctoplevel, metal2_drawing, 14.15, 0, 0.2, 2, 9, 4, 0.5, 4.2)
A(opctoplevel, metal2_drawing, -0.25, 3.4, 4.2, 0.2, 4, 2, 4.8, 3.4)
A(opctoplevel, metal2_drawing, 0.25, 3.4, 3.2, 0.2, 4, 2, 4.8, 3.4)
A(opctoplevel, metal2_drawing, -0.25, 3.6, 0.2, 0.6, 9, 2, 0.5, 2.6)
A(opctoplevel, metal2_drawing, 4.55, 3.6, 0.2, 0.6, 9, 2, 0.5, 2.6)
A(opctoplevel, metal2_drawing, 9.35, 3.6, 0.2, 0.6, 9, 2, 0.5, 2.6)
A(opctoplevel, metal2_drawing, 14.15, 3.6, 0.2, 0.6, 9, 2, 0.5, 2.6)
A(opctoplevel, metal2_drawing, -0.25, 7.6, 4.2, 0.2, 4, 2, 4.8, 3.4)
A(opctoplevel, metal2_drawing, 0.25, 7.6, 3.2, 0.2, 4, 2, 4.8, 3.4)
A(opctoplevel, metal2_drawing, -0.25, 7.8, 0.2, 0.6, 9, 2, 0.5, 2.6)
A(opctoplevel, metal2_drawing, 4.55, 7.8, 0.2, 0.6, 9, 2, 0.5, 2.6)
A(opctoplevel, metal2_drawing, 9.35, 7.8, 0.2, 0.6, 9, 2, 0.5, 2.6)
A(opctoplevel, metal2_drawing, 14.15, 7.8, 0.2, 0.6, 9, 2, 0.5, 2.6)
A(opctoplevel, metal2_drawing, -0.25, 11.8, 4.2, 0.2, 4, 2, 4.8, 3.4)
A(opctoplevel, metal2_drawing, 0.25, 11.8, 3.2, 0.2, 4, 2, 4.8, 3.4)
A(opctoplevel, metal2_drawing, -0.25, 12, 0.2, 0.6, 9, 2, 0.5, 2.6)
A(opctoplevel, metal2_drawing, 4.55, 12, 0.2, 0.6, 9, 2, 0.5, 2.6)
A(opctoplevel, metal2_drawing, 9.35, 12, 0.2, 0.6, 9, 2, 0.5, 2.6)
A(opctoplevel, metal2_drawing, 14.15, 12, 0.2, 0.6, 9, 2, 0.5, 2.6)

lib.write_gds('opctoplevel.gds')
